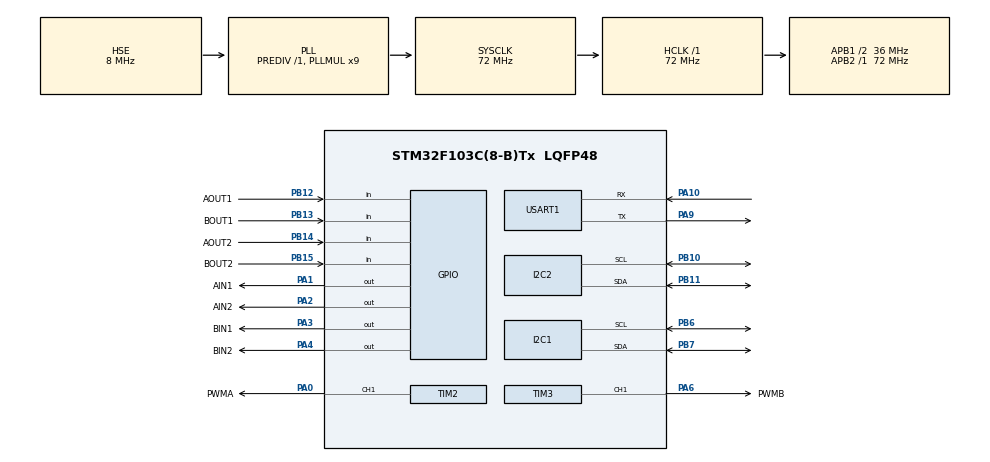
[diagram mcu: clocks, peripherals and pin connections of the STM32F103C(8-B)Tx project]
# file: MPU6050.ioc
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Mcu.Family=STM32F1
Mcu.Name=STM32F103C(8-B)Tx
Mcu.Package=LQFP48
NVIC.PriorityGroup=NVIC_PRIORITYGROUP_4
NVIC.TIM1_UP_IRQn=true\:0\:0\:false\:false\:true\:true\:true
PA0-WKUP.GPIO_Label=PWMA
PA0-WKUP.Signal=S_TIM2_CH1_ETR
PA1.GPIO_Label=AIN1
PA1.PinState=GPIO_PIN_RESET
PA1.Signal=GPIO_Output
PA10.Mode=Asynchronous
PA10.Signal=USART1_RX
PA13.Mode=Serial_Wire
PA13.Signal=SYS_JTMS-SWDIO
PA14.Mode=Serial_Wire
PA14.Signal=SYS_JTCK-SWCLK
PA2.GPIO_Label=AIN2
PA2.PinState=GPIO_PIN_RESET
PA2.Signal=GPIO_Output
PA3.GPIO_Label=BIN1
PA3.PinState=GPIO_PIN_RESET
PA3.Signal=GPIO_Output
PA4.GPIO_Label=BIN2
PA4.PinState=GPIO_PIN_RESET
PA4.Signal=GPIO_Output
PA6.GPIO_Label=PWMB
PA6.Signal=S_TIM3_CH1
PA9.Mode=Asynchronous
PA9.Signal=USART1_TX
PB10.Mode=I2C
PB10.Signal=I2C2_SCL
PB11.Mode=I2C
PB11.Signal=I2C2_SDA
PB12.GPIO_Label=AOUT1
PB12.Signal=GPIO_Input
PB13.GPIO_Label=BOUT1
PB13.Signal=GPIO_Input
PB14.GPIO_Label=AOUT2
PB14.Signal=GPIO_Input
PB15.GPIO_Label=BOUT2
PB15.Signal=GPIO_Input
PB6.Mode=I2C
PB6.Signal=I2C1_SCL
PB7.Mode=I2C
PB7.Signal=I2C1_SDA
PD0-OSC_IN.Mode=HSE-External-Oscillator
PD0-OSC_IN.Signal=RCC_OSC_IN
PD1-OSC_OUT.Mode=HSE-External-Oscillator
PD1-OSC_OUT.Signal=RCC_OSC_OUT
ProjectManager.HeapSize=0x200
ProjectManager.StackSize=0x400
ProjectManager.TargetToolchain=MDK-ARM V5
RCC.AHBFreq_Value=72000000
RCC.APB1CLKDivider=RCC_HCLK_DIV2
RCC.APB1Freq_Value=36000000
RCC.APB1TimFreq_Value=72000000
RCC.APB2Freq_Value=72000000
RCC.APB2TimFreq_Value=72000000
RCC.HCLKFreq_Value=72000000
RCC.PLLMUL=RCC_PLL_MUL9
RCC.PLLSourceVirtual=RCC_PLLSOURCE_HSE
RCC.SYSCLKFreq_VALUE=72000000
RCC.SYSCLKSource=RCC_SYSCLKSOURCE_PLLCLK
RCC.USBFreq_Value=72000000
SH.S_TIM2_CH1_ETR.0=TIM2_CH1,PWM Generation1 CH1
SH.S_TIM3_CH1.0=TIM3_CH1,PWM Generation1 CH1
TIM1.Period=100-1
TIM1.Prescaler=72-1
TIM2.AutoReloadPreload=TIM_AUTORELOAD_PRELOAD_ENABLE
TIM2.Channel-PWM\ Generation1\ CH1=TIM_CHANNEL_1
TIM2.Period=1000-1
TIM2.Prescaler=72-1
TIM2.Pulse-PWM\ Generation1\ CH1=500
TIM3.AutoReloadPreload=TIM_AUTORELOAD_PRELOAD_ENABLE
TIM3.Channel-PWM\ Generation1\ CH1=TIM_CHANNEL_1
TIM3.Period=1000-1
TIM3.Prescaler=72-1
TIM3.Pulse-PWM\ Generation1\ CH1=500
USART1.VirtualMode=VM_ASYNC
VP_TIM1_VS_ClockSourceINT.Mode=Internal
VP_TIM2_VS_ClockSourceINT.Mode=Internal
VP_TIM3_VS_ClockSourceINT.Mode=Internal
board=custom

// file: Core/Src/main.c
/* USER CODE BEGIN Header */
/**
  ******************************************************************************
  * @file           : main.c
  * @brief          : Main program body
  ******************************************************************************
  * @attention
  *
  * Copyright (c) 2022 STMicroelectronics.
  * All rights reserved.
  *
  * This software is licensed under terms that can be found in the LICENSE file
  * in the root directory of this software component.
  * If no LICENSE file comes with this software, it is provided AS-IS.
  *
  ******************************************************************************
  */
/* USER CODE END Header */
#include "main.h"
#include "i2c.h"
#include "tim.h"
#include "usart.h"
#include "gpio.h"

/* USER CODE BEGIN Includes */
#include <stdio.h>
#include "PID.h"
#include "Motor.h"
#include "oled.h"
/* USER CODE END Includes */

/* USER CODE BEGIN PV */
float pitch,roll,yaw; 		//欧拉角
short aacx,aacy,aacz;		//加速度传感器原始数据
short gyrox,gyroy,gyroz;	//陀螺仪原始数据
short temp;					//温度

float pwm_velocity=0;
int pwm_value=0,pwm_Upright=0;
int tmp_x=0,tmp_z=0;
float tmp_theta=0;

int count=0;
int A1=0,A2=0,B1=0,B2=0;
int A1_tmp=0,A2_tmp=0,B1_tmp=0,B2_tmp=0;
int L_count=0,R_count=0;
uint8_t PWM_PUT_OLED;

/* USER CODE END PV */

void SystemClock_Config(void);

/* USER CODE BEGIN 0 */
int fputc(int ch,FILE* f)
{
	uint8_t temp[1]={ch};
	HAL_UART_Transmit(&huart1,temp,1,2);
	return ch;
}

/* USER CODE END 0 */

int main(void)
{

  /* MCU Configuration--------------------------------------------------------*/

  /* Reset of all peripherals, Initializes the Flash interface and the Systick. */
  HAL_Init();

  /* Configure the system clock */
  SystemClock_Config();

  /* Initialize all configured peripherals */
  MX_GPIO_Init();
  MX_I2C1_Init();
  MX_USART1_UART_Init();
  MX_TIM1_Init();
  MX_TIM2_Init();
  MX_TIM3_Init();
  MX_I2C2_Init();
  /* USER CODE BEGIN 2 */
HAL_TIM_Base_Start_IT(&htim1);
HAL_TIM_Base_Start_IT(&htim2);
HAL_TIM_Base_Start_IT(&htim3);
HAL_TIM_PWM_Start_IT(&htim2,TIM_CHANNEL_1);
HAL_TIM_PWM_Start_IT(&htim3,TIM_CHANNEL_1);
	OLED_CLS();
	while(MPU_Init());					//初始化MPU6050

	while(mpu_dmp_init())
	{
		delay_ms(200);
		printf("%s\r\n","Mpu6050 Init Wrong!");
	}
	printf("%s\r\n","Mpu6050 Init OK!");

	MPU_Get_Gyroscope_Mean(&gyrox,&gyroy,&gyroz);	//取平均
	MPU_Get_Accelerometer_Mean(&aacx,&aacy,&aacz);	//取平均

	OLED_Init();
	OLED_CLS();
	OLED_ShowStr(40,2,"zihao",2);
	HAL_Delay(1000);
	OLED_CLS();
	OLED_ShowStr(0,2,"    balancing car",1);
  /* USER CODE END 2 */

  /* Infinite loop */
  /* USER CODE BEGIN WHILE */

//				OLED_ShowStr(0,0,"    balancing car",1);
//				OLED_ShowStr(0,2,"pitch:",1);
//				OLED_ShowStr(0,4,"theta:",1);
//				OLED_ShowStr(0,6,"pwm:",1);
//				//OLED_ShowNum(32,2,(float)aacx/(0xffff/4),3,12);
//				static int aacx_oled ;
//				static int theta_oled;
//				static int pwm_oled;
//				aacx_oled= pitch;
//				theta_oled = tmp_theta;
//				pwm_oled = pwm_value;
//				aacx_oled = (aacx_oled<0)?(-aacx_oled):aacx_oled;
//				OLED_ShowNum(50,2,aacx_oled,3,12);
//				OLED_ShowNum(50,4,theta_oled,3,12);
//				OLED_ShowNum(50,6,pwm_oled,3,12);
  while(1)
  {
    /* USER CODE END WHILE */

    /* USER CODE BEGIN 3 */
		if(mpu_dmp_get_data(&pitch,&roll,&yaw)==0)
		{
				MPU_Get_Accelerometer(&aacx,&aacy,&aacz);	//得到加速度传感器数据
				MPU_Get_Gyroscope(&gyrox,&gyroy,&gyroz);	//得到陀螺仪数据

//				printf("三轴角度(deg)：%.1f  %.1f  %.1f\r\n",pitch,roll,yaw);
//				printf("三轴加速度a(m/s^2)：%.3fg  %.3fg  %.3fg\r\n",(float)aacx/(0xffff/4),(float)aacy/(0xffff/4),(float)aacz/(0xffff/4));
//				printf("三轴角速度w(deg/s)：%.1f  %.1f  %.1f\r\n",(float)gyrox/(0xffff/500),(float)gyroy/(0xffff/500),(float)gyroz/(0xffff/500));

		}

//电机计数

		A1_tmp = A1;
		A2_tmp = A2;
		B1_tmp = B1;
		B2_tmp = B2;
		A1=HAL_GPIO_ReadPin(AOUT1_GPIO_Port,AOUT1_Pin);
		B1=HAL_GPIO_ReadPin(BOUT1_GPIO_Port,BOUT1_Pin);
		A2=HAL_GPIO_ReadPin(AOUT2_GPIO_Port,AOUT2_Pin);
		B2=HAL_GPIO_ReadPin(BOUT2_GPIO_Port,BOUT2_Pin);

		if((A1!=A1_tmp)&&A1)
		{
			if(B1&&B1_tmp)
				L_count++;
			if(!B1&&!B1_tmp)
				L_count--;
		}

		if((A2!=A2_tmp)&&A2)
		{
			if(B2&&B2_tmp)
				R_count--;
			if(!B2&&!B2_tmp)
				R_count++;
		}

		tmp_theta=(float)gyroy/(0xffff/500);

		pwm_velocity = velocity(0,L_count,R_count);
		pwm_velocity = (pwm_velocity>=50)?50:pwm_velocity;
		pwm_velocity = (pwm_velocity<=-50)?-50:pwm_velocity;

		pwm_Upright=Upright(pwm_velocity,pitch,tmp_theta);
//		pwm_Upright = (pwm_Upright>=1000)?1000:pwm_Upright;
//		pwm_Upright = (pwm_Upright<=-1000)?-1000:pwm_Upright;

		pwm_value = pwm_Upright;
		rotation(pwm_value);//正反转
		pwm_value = (pwm_value>0)?pwm_value:(-pwm_value);
		__HAL_TIM_SET_COMPARE(&htim2,TIM_CHANNEL_1,pwm_value);
		__HAL_TIM_SET_COMPARE(&htim3,TIM_CHANNEL_1,pwm_value);

//		HAL_Delay(100);
  }
  /* USER CODE END 3 */
}

void SystemClock_Config(void)
{
  RCC_OscInitTypeDef RCC_OscInitStruct = {0};
  RCC_ClkInitTypeDef RCC_ClkInitStruct = {0};

  /** Initializes the RCC Oscillators according to the specified parameters
  * in the RCC_OscInitTypeDef structure.
  */
  RCC_OscInitStruct.OscillatorType = RCC_OSCILLATORTYPE_HSE;
  RCC_OscInitStruct.HSEState = RCC_HSE_ON;
  RCC_OscInitStruct.HSEPredivValue = RCC_HSE_PREDIV_DIV1;
  RCC_OscInitStruct.HSIState = RCC_HSI_ON;
  RCC_OscInitStruct.PLL.PLLState = RCC_PLL_ON;
  RCC_OscInitStruct.PLL.PLLSource = RCC_PLLSOURCE_HSE;
  RCC_OscInitStruct.PLL.PLLMUL = RCC_PLL_MUL9;
  if (HAL_RCC_OscConfig(&RCC_OscInitStruct) != HAL_OK)
  {
    Error_Handler();
  }
  /** Initializes the CPU, AHB and APB buses clocks
  */
  RCC_ClkInitStruct.ClockType = RCC_CLOCKTYPE_HCLK|RCC_CLOCKTYPE_SYSCLK
                              |RCC_CLOCKTYPE_PCLK1|RCC_CLOCKTYPE_PCLK2;
  RCC_ClkInitStruct.SYSCLKSource = RCC_SYSCLKSOURCE_PLLCLK;
  RCC_ClkInitStruct.AHBCLKDivider = RCC_SYSCLK_DIV1;
  RCC_ClkInitStruct.APB1CLKDivider = RCC_HCLK_DIV2;
  RCC_ClkInitStruct.APB2CLKDivider = RCC_HCLK_DIV1;

  if (HAL_RCC_ClockConfig(&RCC_ClkInitStruct, FLASH_LATENCY_2) != HAL_OK)
  {
    Error_Handler();
  }
}

/* USER CODE BEGIN 4 */

void HAL_TIM_PeriodElapsedCallback(TIM_HandleTypeDef *htim)
{
	if(htim->Instance == htim1.Instance)
	{
		count++;
		if(count>=500)
		{
			printf("pwm_Upright： %d   pwm_velocity： %.2f   pwm_value: %d\r\n",pwm_Upright,pwm_velocity,pwm_value);
			count = 0;
			L_count = 0;
			R_count = 0;
		}
	}
}
/* USER CODE END 4 */

void Error_Handler(void)
{
  __disable_irq();
  while (1)
  {
  }
}
